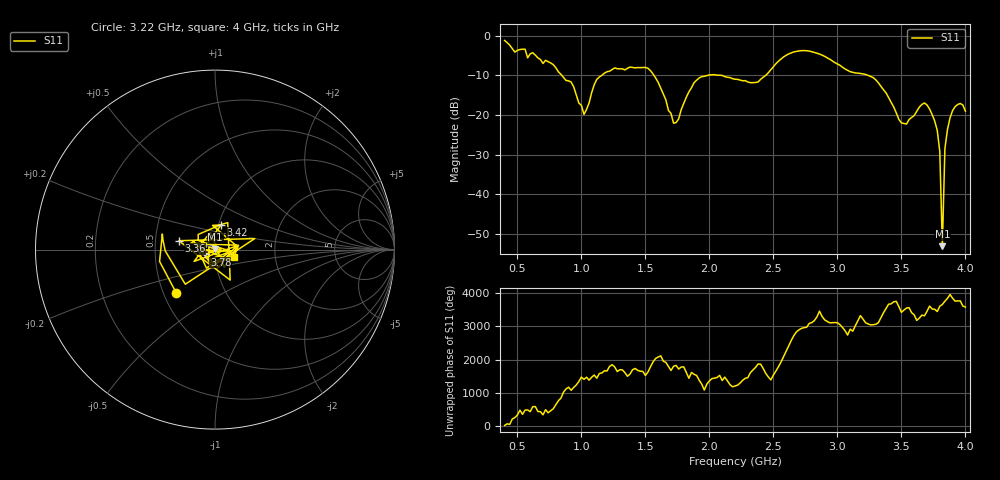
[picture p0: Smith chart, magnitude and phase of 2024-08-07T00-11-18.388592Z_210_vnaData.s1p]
!Created with skrf (http://scikit-rf.org).
# Hz S RI R 50.0
!freq ReS11 ImS11
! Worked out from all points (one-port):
!   181 points, 400 MHz to 4 GHz, reference 50 ohm
!   lowest |S11| = -53.1 dB at 3.82 GHz (marker M1), VSWR 1.00, Z = 50.1 + j0.185 ohm
!   |S11| at or under -10 dB: 1.566 GHz to 1.987 GHz (420.8 MHz wide, 23.7 % of centre); 2.09 GHz to 2.441 GHz (350.8 MHz wide, 15.5 % of centre); 3.239 GHz to end of sweep (the widest 3 of 4)
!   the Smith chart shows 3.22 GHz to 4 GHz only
!   S11 on the Smith chart (normalised r, x): 3.22 GHz: 0.58, -0.32; 3.36 GHz: 0.66, +0.07; 3.42 GHz: 1.03, +0.29; 3.78 GHz: 0.89, -0.05; 4 GHz: 1.23, -0.11
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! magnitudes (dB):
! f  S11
! 400 MHz  -1.2
! 860 MHz  -10.5
! 920 MHz  -11.7
! 1.02 GHz  -19.9
! 1.12 GHz  -11.0
! 1.3 GHz  -8.4
! 1.52 GHz  -8.2
! 1.6 GHz  -11.8
! 1.72 GHz  -22.1
! 1.76 GHz  -21.0
! 1.92 GHz  -10.7
! 2.2 GHz  -11.0
! 2.38 GHz  -11.7
! 2.66 GHz  -4.1
! 3.1 GHz  -9.1
! 3.22 GHz  -9.8
! 3.36 GHz  -13.6
! 3.42 GHz  -16.8
! 3.5 GHz  -22.0
! 3.56 GHz  -21.2
! 3.68 GHz  -17.0
! 3.78 GHz  -23.9
! 3.8 GHz  -29.2
! 3.82 GHz  -53.1
! 3.84 GHz  -28.5
! 3.86 GHz  -23.7
! 3.92 GHz  -17.9
! 4 GHz  -19.0
